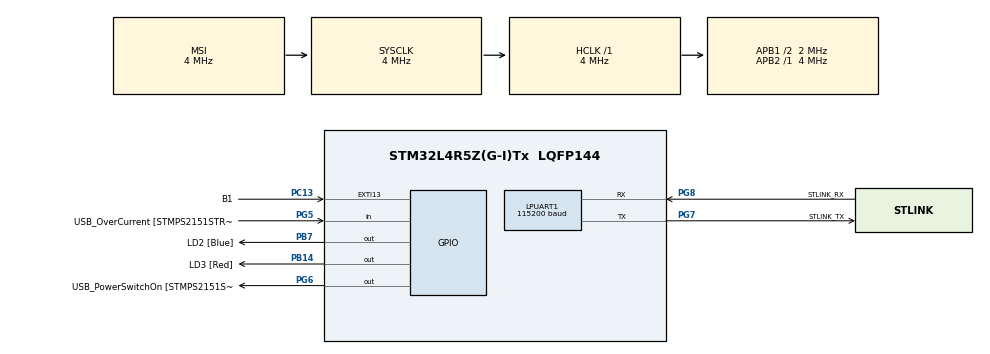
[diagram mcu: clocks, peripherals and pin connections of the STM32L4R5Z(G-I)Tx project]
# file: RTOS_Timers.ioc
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LPUART1.BaudRate=115200
LPUART1.WordLength=UART_WORDLENGTH_8B
Mcu.Family=STM32L4
Mcu.Name=STM32L4R5Z(G-I)Tx
Mcu.Package=LQFP144
NVIC.PriorityGroup=NVIC_PRIORITYGROUP_4
NVIC.TIM2_IRQn=true\:15\:0\:false\:false\:true\:false\:true\:true
NVIC.TimeBase=TIM2_IRQn
NVIC.TimeBaseIP=TIM2
PA10.GPIO_Label=USB_ID
PA10.Signal=USB_OTG_FS_ID
PA11.GPIO_Label=USB_DM
PA11.Signal=USB_OTG_FS_DM
PA12.GPIO_Label=USB_DP
PA12.Signal=USB_OTG_FS_DP
PA13\ (JTMS/SWDIO).GPIO_Label=TMS
PA13\ (JTMS/SWDIO).Mode=Serial_Wire
PA13\ (JTMS/SWDIO).Signal=SYS_JTMS-SWDIO
PA14\ (JTCK/SWCLK).GPIO_Label=TCK
PA14\ (JTCK/SWCLK).Mode=Serial_Wire
PA14\ (JTCK/SWCLK).Signal=SYS_JTCK-SWCLK
PA8.GPIO_Label=USB_SOF [TP1]
PA8.Signal=USB_OTG_FS_SOF
PA9.GPIO_Label=USB_VBUS
PA9.Signal=USB_OTG_FS_VBUS
PB14.GPIO_Label=LD3 [Red]
PB14.Signal=GPIO_Output
PB3\ (JTDO/TRACESWO).GPIO_Label=SWO
PB3\ (JTDO/TRACESWO).Signal=SYS_JTDO-SWO
PB7.GPIO_Label=LD2 [Blue]
PB7.Signal=GPIO_Output
PC13.GPIO_Label=B1
PC13.Signal=GPXTI13
PC14-OSC32_IN\ (PC14).Mode=LSE-External-Oscillator
PC14-OSC32_IN\ (PC14).Signal=RCC_OSC32_IN
PC15-OSC32_OUT\ (PC15).Mode=LSE-External-Oscillator
PC15-OSC32_OUT\ (PC15).Signal=RCC_OSC32_OUT
PD8.GPIO_Label=STLK_RX [STM32F103CBT6_PA3]
PD8.Signal=USART3_TX
PD9.GPIO_Label=STLK_TX [STM32F103CBT6_PA2]
PD9.Signal=USART3_RX
PG5.GPIO_Label=USB_OverCurrent [STMPS2151STR_FAULT]
PG5.Signal=GPIO_Input
PG6.GPIO_Label=USB_PowerSwitchOn [STMPS2151STR_En]
PG6.Signal=GPIO_Output
PG7.GPIO_Label=STLINK_TX
PG7.Mode=Asynchronous
PG7.Signal=LPUART1_TX
PG8.GPIO_Label=STLINK_RX
PG8.Mode=Asynchronous
PG8.Signal=LPUART1_RX
PH0-OSC_IN\ (PH0).Mode=HSE-External-Clock-Source
PH0-OSC_IN\ (PH0).Signal=RCC_OSC_IN
PH1-OSC_OUT\ (PH1).Signal=RCC_OSC_OUT
ProjectManager.HeapSize=0x200
ProjectManager.StackSize=0x400
ProjectManager.TargetToolchain=STM32CubeIDE
RCC.48MHZClocksFreq_Value=24000000
RCC.AHBFreq_Value=4000000
RCC.APB1CLKDivider=RCC_HCLK_DIV2
RCC.APB1Freq_Value=2000000
RCC.APB1TimFreq_Value=4000000
RCC.APB2Freq_Value=4000000
RCC.APB2TimFreq_Value=4000000
RCC.CortexFreq_Value=4000000
RCC.HCLKFreq_Value=4000000
RCC.HSE_VALUE=8000000
RCC.HSI48_VALUE=48000000
RCC.HSI_VALUE=16000000
RCC.MSI_VALUE=4000000
RCC.PLLMUL=RCC_PLL_MUL9
RCC.PRESCALERUSB=RCC_USBCLKSOURCE_PLL_DIV1_5
RCC.SYSCLKFreq_VALUE=4000000
RCC.SYSCLKSourceVirtual=RCC_SYSCLKSOURCE_PLLCLK
RCC.USBFreq_Value=16000000
RCC.VCOOutputFreq_Value=32000000
VP_SYS_VS_tim2.Mode=TIM2
board=NUCLEO-L4R5ZI

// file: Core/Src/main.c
/* USER CODE BEGIN Header */
/**
  ******************************************************************************
  * @file           : main.c
  * @brief          : Main program body
  ******************************************************************************
  * @attention
  *
  * Copyright (c) 2024 STMicroelectronics.
  * All rights reserved.
  *
  * This software is licensed under terms that can be found in the LICENSE file
  * in the root directory of this software component.
  * If no LICENSE file comes with this software, it is provided AS-IS.
  *
  ******************************************************************************
  */
/* USER CODE END Header */
#include "main.h"

/* USER CODE BEGIN Includes */
#include "FreeRTOS.h"
#include "task.h"
#include "queue.h"
#include "semphr.h"
#include "timers.h"
#include "event_groups.h"
#include "string.h"
/* USER CODE END Includes */

UART_HandleTypeDef hlpuart1;

/* USER CODE BEGIN PV */
TimerHandle_t PR_handler, OST_handler;
/* USER CODE END PV */

void SystemClock_Config(void);
static void MX_GPIO_Init(void);
static void MX_LPUART1_UART_Init(void);

/* USER CODE BEGIN 0 */
void uartTask(void *params)
{
	xTimerStart(PR_handler,0);
	while(1)
	{
		HAL_GPIO_TogglePin(LD3_GPIO_Port, LD3_Pin);
		vTaskDelay(pdMS_TO_TICKS(1000));
	}
}

void LedTask(void *params)
{
	while(1)
	{
		if(HAL_GPIO_ReadPin(B1_GPIO_Port, B1_Pin))
		{
			HAL_GPIO_WritePin(LD2_GPIO_Port, LD2_Pin, 1);
			xTimerStart(OST_handler,0);
		}
	}
}

void timer_callback(xTimerHandle xtimer)
{
	if(xtimer == PR_handler)
	{
		uint8_t buf[] = "sending from Callback function\n\r";
		HAL_UART_Transmit(&hlpuart1, buf, sizeof(buf), HAL_MAX_DELAY);
	}
	if(xtimer == OST_handler)
	{
		HAL_GPIO_WritePin(LD2_GPIO_Port, LD2_Pin, GPIO_PIN_RESET);
	}
}
/* USER CODE END 0 */

int main(void)
{

  /* MCU Configuration--------------------------------------------------------*/

  /* Reset of all peripherals, Initializes the Flash interface and the Systick. */
  HAL_Init();

  /* Configure the system clock */
  SystemClock_Config();

  /* Initialize all configured peripherals */
  MX_GPIO_Init();
  MX_LPUART1_UART_Init();
  /* USER CODE BEGIN 2 */

  xTaskCreate(uartTask, "task1", configMINIMAL_STACK_SIZE, NULL, 1, NULL);
  xTaskCreate(LedTask, "task2", configMINIMAL_STACK_SIZE, NULL, 1, NULL);

  PR_handler = xTimerCreate("timer1", pdMS_TO_TICKS(2000), pdTRUE, (void*)1, timer_callback);
  OST_handler = xTimerCreate("timer2", pdMS_TO_TICKS(4000), pdFALSE, (void*)2, timer_callback);

  vTaskStartScheduler();
  /* USER CODE END 2 */

  /* Infinite loop */
  while (1)
  {

  }
}

void SystemClock_Config(void)
{
  RCC_OscInitTypeDef RCC_OscInitStruct = {0};
  RCC_ClkInitTypeDef RCC_ClkInitStruct = {0};

  /** Configure the main internal regulator output voltage
  */
  if (HAL_PWREx_ControlVoltageScaling(PWR_REGULATOR_VOLTAGE_SCALE1) != HAL_OK)
  {
    Error_Handler();
  }

  /** Initializes the RCC Oscillators according to the specified parameters
  * in the RCC_OscInitTypeDef structure.
  */
  RCC_OscInitStruct.OscillatorType = RCC_OSCILLATORTYPE_MSI;
  RCC_OscInitStruct.MSIState = RCC_MSI_ON;
  RCC_OscInitStruct.MSICalibrationValue = 0;
  RCC_OscInitStruct.MSIClockRange = RCC_MSIRANGE_6;
  RCC_OscInitStruct.PLL.PLLState = RCC_PLL_NONE;
  if (HAL_RCC_OscConfig(&RCC_OscInitStruct) != HAL_OK)
  {
    Error_Handler();
  }

  /** Initializes the CPU, AHB and APB buses clocks
  */
  RCC_ClkInitStruct.ClockType = RCC_CLOCKTYPE_HCLK|RCC_CLOCKTYPE_SYSCLK
                              |RCC_CLOCKTYPE_PCLK1|RCC_CLOCKTYPE_PCLK2;
  RCC_ClkInitStruct.SYSCLKSource = RCC_SYSCLKSOURCE_MSI;
  RCC_ClkInitStruct.AHBCLKDivider = RCC_SYSCLK_DIV1;
  RCC_ClkInitStruct.APB1CLKDivider = RCC_HCLK_DIV2;
  RCC_ClkInitStruct.APB2CLKDivider = RCC_HCLK_DIV1;

  if (HAL_RCC_ClockConfig(&RCC_ClkInitStruct, FLASH_LATENCY_0) != HAL_OK)
  {
    Error_Handler();
  }
}

static void MX_LPUART1_UART_Init(void)
{

  hlpuart1.Instance = LPUART1;
  hlpuart1.Init.BaudRate = 115200;
  hlpuart1.Init.WordLength = UART_WORDLENGTH_8B;
  hlpuart1.Init.StopBits = UART_STOPBITS_1;
  hlpuart1.Init.Parity = UART_PARITY_NONE;
  hlpuart1.Init.Mode = UART_MODE_TX_RX;
  hlpuart1.Init.HwFlowCtl = UART_HWCONTROL_NONE;
  hlpuart1.Init.OneBitSampling = UART_ONE_BIT_SAMPLE_DISABLE;
  hlpuart1.Init.ClockPrescaler = UART_PRESCALER_DIV1;
  hlpuart1.AdvancedInit.AdvFeatureInit = UART_ADVFEATURE_NO_INIT;
  hlpuart1.FifoMode = UART_FIFOMODE_DISABLE;
  if (HAL_UART_Init(&hlpuart1) != HAL_OK)
  {
    Error_Handler();
  }
  if (HAL_UARTEx_SetTxFifoThreshold(&hlpuart1, UART_TXFIFO_THRESHOLD_1_8) != HAL_OK)
  {
    Error_Handler();
  }
  if (HAL_UARTEx_SetRxFifoThreshold(&hlpuart1, UART_RXFIFO_THRESHOLD_1_8) != HAL_OK)
  {
    Error_Handler();
  }
  if (HAL_UARTEx_DisableFifoMode(&hlpuart1) != HAL_OK)
  {
    Error_Handler();
  }

}

static void MX_GPIO_Init(void)
{
  GPIO_InitTypeDef GPIO_InitStruct = {0};

  /* GPIO Ports Clock Enable */
  __HAL_RCC_GPIOC_CLK_ENABLE();
  __HAL_RCC_GPIOH_CLK_ENABLE();
  __HAL_RCC_GPIOB_CLK_ENABLE();
  __HAL_RCC_GPIOD_CLK_ENABLE();
  __HAL_RCC_GPIOG_CLK_ENABLE();
  HAL_PWREx_EnableVddIO2();
  __HAL_RCC_GPIOA_CLK_ENABLE();

  /*Configure GPIO pin Output Level */
  HAL_GPIO_WritePin(GPIOB, LD3_Pin|LD2_Pin, GPIO_PIN_RESET);

  /*Configure GPIO pin Output Level */
  HAL_GPIO_WritePin(USB_PowerSwitchOn_GPIO_Port, USB_PowerSwitchOn_Pin, GPIO_PIN_RESET);

  /*Configure GPIO pin : B1_Pin */
  GPIO_InitStruct.Pin = B1_Pin;
  GPIO_InitStruct.Mode = GPIO_MODE_IT_RISING;
  GPIO_InitStruct.Pull = GPIO_NOPULL;
  HAL_GPIO_Init(B1_GPIO_Port, &GPIO_InitStruct);

  /*Configure GPIO pins : LD3_Pin LD2_Pin */
  GPIO_InitStruct.Pin = LD3_Pin|LD2_Pin;
  GPIO_InitStruct.Mode = GPIO_MODE_OUTPUT_PP;
  GPIO_InitStruct.Pull = GPIO_NOPULL;
  GPIO_InitStruct.Speed = GPIO_SPEED_FREQ_LOW;
  HAL_GPIO_Init(GPIOB, &GPIO_InitStruct);

  /*Configure GPIO pins : STLK_RX_Pin STLK_TX_Pin */
  GPIO_InitStruct.Pin = STLK_RX_Pin|STLK_TX_Pin;
  GPIO_InitStruct.Mode = GPIO_MODE_AF_PP;
  GPIO_InitStruct.Pull = GPIO_NOPULL;
  GPIO_InitStruct.Speed = GPIO_SPEED_FREQ_VERY_HIGH;
  GPIO_InitStruct.Alternate = GPIO_AF7_USART3;
  HAL_GPIO_Init(GPIOD, &GPIO_InitStruct);

  /*Configure GPIO pin : USB_OverCurrent_Pin */
  GPIO_InitStruct.Pin = USB_OverCurrent_Pin;
  GPIO_InitStruct.Mode = GPIO_MODE_INPUT;
  GPIO_InitStruct.Pull = GPIO_NOPULL;
  HAL_GPIO_Init(USB_OverCurrent_GPIO_Port, &GPIO_InitStruct);

  /*Configure GPIO pin : USB_PowerSwitchOn_Pin */
  GPIO_InitStruct.Pin = USB_PowerSwitchOn_Pin;
  GPIO_InitStruct.Mode = GPIO_MODE_OUTPUT_PP;
  GPIO_InitStruct.Pull = GPIO_NOPULL;
  GPIO_InitStruct.Speed = GPIO_SPEED_FREQ_LOW;
  HAL_GPIO_Init(USB_PowerSwitchOn_GPIO_Port, &GPIO_InitStruct);

  /*Configure GPIO pins : USB_SOF_Pin USB_ID_Pin USB_DM_Pin USB_DP_Pin */
  GPIO_InitStruct.Pin = USB_SOF_Pin|USB_ID_Pin|USB_DM_Pin|USB_DP_Pin;
  GPIO_InitStruct.Mode = GPIO_MODE_AF_PP;
  GPIO_InitStruct.Pull = GPIO_NOPULL;
  GPIO_InitStruct.Speed = GPIO_SPEED_FREQ_VERY_HIGH;
  GPIO_InitStruct.Alternate = GPIO_AF10_OTG_FS;
  HAL_GPIO_Init(GPIOA, &GPIO_InitStruct);

  /*Configure GPIO pin : USB_VBUS_Pin */
  GPIO_InitStruct.Pin = USB_VBUS_Pin;
  GPIO_InitStruct.Mode = GPIO_MODE_INPUT;
  GPIO_InitStruct.Pull = GPIO_NOPULL;
  HAL_GPIO_Init(USB_VBUS_GPIO_Port, &GPIO_InitStruct);

}

void HAL_TIM_PeriodElapsedCallback(TIM_HandleTypeDef *htim)
{
  if (htim->Instance == TIM2) {
    HAL_IncTick();
  }
}

void Error_Handler(void)
{
  __disable_irq();
  while (1)
  {
  }
}
